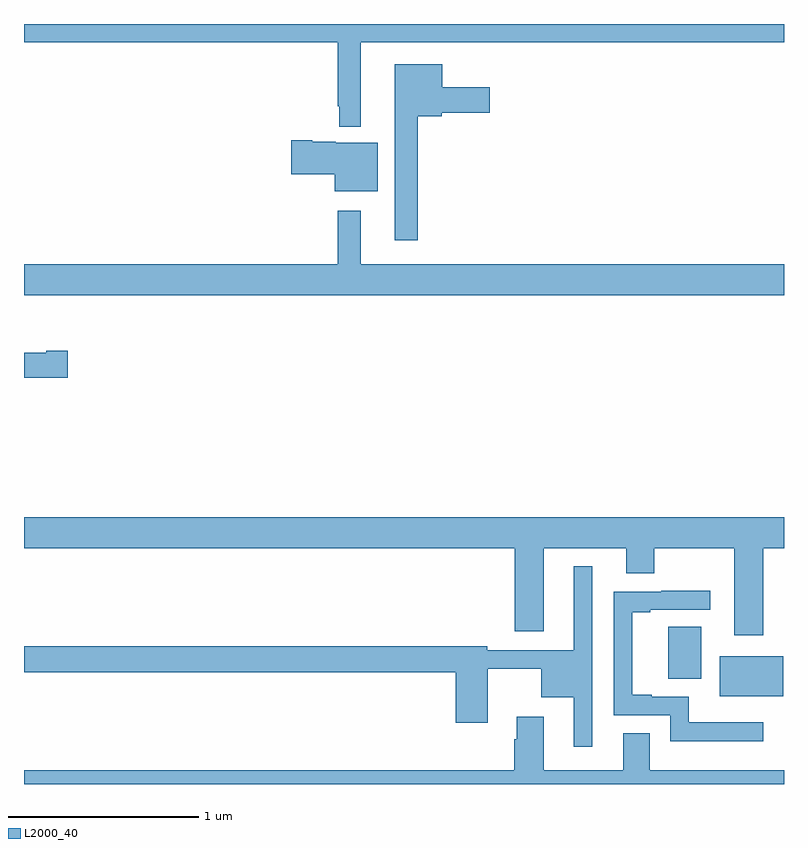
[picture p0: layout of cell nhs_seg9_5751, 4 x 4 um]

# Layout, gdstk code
import gdstk
lib = gdstk.Library(unit=1e-6, precision=1e-09)
def R(c, l, rs):  # rectangles x0, y0, x1, y1
    for r in rs: c.add(gdstk.rectangle(r[:2], r[2:], *l))
def P(c, l, *ps):  # polygons
    for p in ps: c.add(gdstk.Polygon(p, *l))
L2000_40 = (2000, 40)

nhs_seg9_5751 = lib.new_cell('nhs_seg9_5751')
R(nhs_seg9_5751, L2000_40, [(448.661,1208.963,448.996,1209.172), (448.391,1209.053,448.564,1209.328)])
P(nhs_seg9_5751, L2000_40, [(446.773,1212.404),(449,1212.404),(449,1212.5),(445,1212.5),(445,1212.404),(446.652,1212.404),(446.652,1212.067),(446.659,1212.067),(446.659,1211.96),(446.773,1211.96)],
  [(447.073,1212.014),(447.198,1212.014),(447.198,1212.032),(447.451,1212.032),(447.451,1212.166),(447.202,1212.166),(447.202,1212.289),(446.951,1212.289),(446.951,1211.361),(447.073,1211.361)],
  [(446.863,1211.875),(446.64,1211.875),(446.64,1211.881),(446.518,1211.881),(446.518,1211.888),(446.406,1211.888),(446.406,1211.71),(446.636,1211.71),(446.636,1211.621),(446.863,1211.621)],
  [(449,1211.236),(446.773,1211.236),(446.773,1211.518),(446.652,1211.518),(446.652,1211.236),(445,1211.236),(445,1211.072),(449,1211.072)],
  [(445.231,1210.779),(445.118,1210.779),(445.118,1210.771),(445,1210.771),(445,1210.637),(445.231,1210.637)],
  [(448.892,1209.74),(449,1209.74),(449,1209.904),(445,1209.904),(445,1209.74),(447.584,1209.74),(447.584,1209.303),(447.736,1209.303),(447.736,1209.74),(448.169,1209.74),(448.169,1209.609),(448.317,1209.609),(448.317,1209.74),(448.739,1209.74),(448.739,1209.282),(448.892,1209.282)],
  [(447.99,1209.646),(447.893,1209.646),(447.893,1209.204),(447.438,1209.204),(447.438,1209.224),(445,1209.224),(445,1209.088),(447.272,1209.088),(447.272,1208.823),(447.442,1208.823),(447.442,1209.106),(447.722,1209.106),(447.722,1208.957),(447.893,1208.957),(447.893,1208.697),(447.99,1208.697)],
  [(448.891,1208.824),(448.498,1208.824),(448.498,1208.958),(448.304,1208.958),(448.304,1208.971),(448.202,1208.971),(448.202,1209.405),(448.297,1209.405),(448.297,1209.417),(448.612,1209.417),(448.612,1209.516),(448.353,1209.516),(448.353,1209.513),(448.104,1209.513),(448.104,1208.862),(448.401,1208.862),(448.401,1208.726),(448.891,1208.726)],
  [(449,1208.572),(448.294,1208.572),(448.294,1208.767),(448.154,1208.767),(448.154,1208.572),(447.736,1208.572),(447.736,1208.854),(447.593,1208.854),(447.593,1208.735),(447.581,1208.735),(447.581,1208.572),(445,1208.572),(445,1208.5),(449,1208.5)])

lib.write_gds('nhs_seg9_5751.gds')
